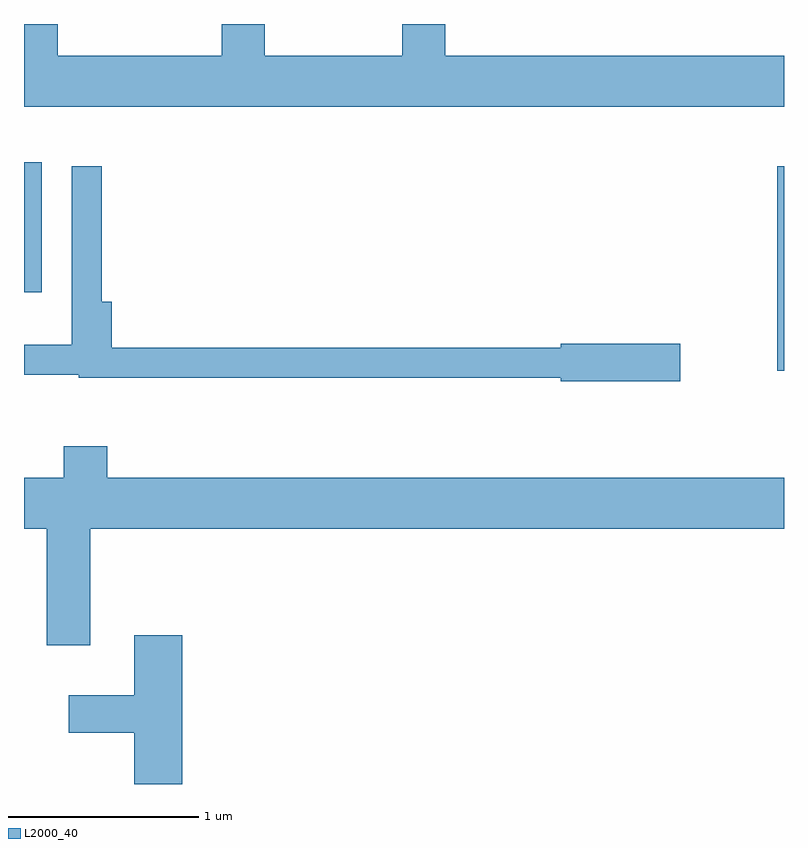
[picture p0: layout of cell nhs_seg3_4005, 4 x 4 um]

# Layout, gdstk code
import gdstk
lib = gdstk.Library(unit=1e-6, precision=1e-09)
def R(c, l, rs):  # rectangles x0, y0, x1, y1
    for r in rs: c.add(gdstk.rectangle(r[:2], r[2:], *l))
def P(c, l, *ps):  # polygons
    for p in ps: c.add(gdstk.Polygon(p, *l))
L2000_40 = (2000, 40)

nhs_seg3_4005 = lib.new_cell('nhs_seg3_4005')
R(nhs_seg3_4005, L2000_40, [(305.576,1240.066,305.611,1241.144), (301.611,1240.481,301.704,1241.164)])
P(nhs_seg3_4005, L2000_40, [(305.611,1241.724),(303.829,1241.724),(303.829,1241.892),(303.601,1241.892),(303.601,1241.724),(302.879,1241.724),(302.879,1241.892),(302.651,1241.892),(302.651,1241.724),(301.789,1241.724),(301.789,1241.892),(301.611,1241.892),(301.611,1241.456),(305.611,1241.456)],
  [(305.064,1240.209),(304.436,1240.209),(304.436,1240.189),(302.074,1240.189),(302.074,1240.429),(302.019,1240.429),(302.019,1241.143),(301.861,1241.143),(301.861,1240.204),(301.611,1240.204),(301.611,1240.046),(301.9,1240.046),(301.9,1240.031),(304.436,1240.031),(304.436,1240.011),(305.064,1240.011)],
  [(301.959,1239.236),(305.611,1239.236),(305.611,1239.504),(302.049,1239.504),(302.049,1239.669),(301.821,1239.669),(301.821,1239.504),(301.611,1239.504),(301.611,1239.236),(301.731,1239.236),(301.731,1238.621),(301.959,1238.621)],
  [(302.444,1238.674),(302.191,1238.674),(302.191,1238.359),(301.846,1238.359),(301.846,1238.161),(302.191,1238.161),(302.191,1237.892),(302.444,1237.892)])

lib.write_gds('nhs_seg3_4005.gds')
